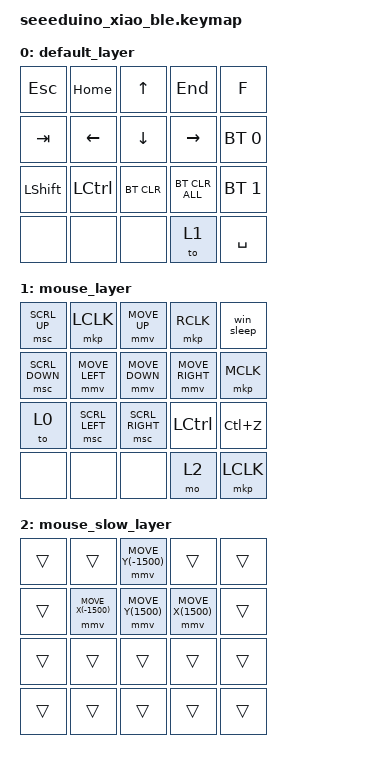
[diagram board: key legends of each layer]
#include <behaviors.dtsi>
#include <dt-bindings/zmk/keys.h>
#include <dt-bindings/zmk/bt.h>
#include <dt-bindings/zmk/matrix_transform.h>

/* Global mouse movement speed (Fast default: 4500) */
#define ZMK_POINTING_DEFAULT_MOVE_VAL 4500  
#define ZMK_POINTING_DEFAULT_SCRL_VAL 20
#include <dt-bindings/zmk/pointing.h>

/* Override default mmv behavior parameters */
&mmv {
    acceleration-exponent = <2>;
    time-to-max-speed-ms = <500>;
    delay-ms = <0>;
};

/ {
    macros {
        /* Win + X -> U -> S macro to safely put Windows to sleep */
        win_sleep: win_sleep {
            compatible = "zmk,behavior-macro";
            #binding-cells = <0>;
            wait-ms = <100>;
            tap-ms = <100>;
            bindings
                = <&kp LG(X)>
                , <&kp U>
                , <&kp S>;
        };

        /* Reset Zoom: Ctrl + 0 */
        zoom_reset: zoom_reset {
            compatible = "zmk,behavior-macro";
            #binding-cells = <0>;
            bindings = <&macro_press &kp LCTRL>
                     , <&macro_tap &kp N0>
                     , <&macro_release &kp LCTRL>;
        };
    };

    chosen {
        zmk,kscan = &kscan0;
        zmk,matrix_transform = &default_transform;
    };

    default_transform: keymap_transform_0 {
        compatible = "zmk,matrix-transform";
        columns = <5>;
        rows = <4>;
        map = <
            RC(0,0) RC(0,1) RC(0,2) RC(0,3) RC(0,4)
            RC(1,0) RC(1,1) RC(1,2) RC(1,3) RC(1,4)
            RC(2,0) RC(2,1) RC(2,2) RC(2,3) RC(2,4)
            RC(3,0) RC(3,1) RC(3,2) RC(3,3) RC(3,4)
        >;
    };

    kscan0: kscan {
        compatible = "zmk,kscan-gpio-matrix";
        diode-direction = "col2row";

        row-gpios =
            <&xiao_d 10 (GPIO_ACTIVE_HIGH | GPIO_PULL_DOWN)>,
            <&xiao_d 9  (GPIO_ACTIVE_HIGH | GPIO_PULL_DOWN)>,
            <&xiao_d 8  (GPIO_ACTIVE_HIGH | GPIO_PULL_DOWN)>,
            <&xiao_d 7  (GPIO_ACTIVE_HIGH | GPIO_PULL_DOWN)>;

        col-gpios =
            <&xiao_d 1 GPIO_ACTIVE_HIGH>,
            <&xiao_d 2 GPIO_ACTIVE_HIGH>,
            <&xiao_d 3 GPIO_ACTIVE_HIGH>,
            <&xiao_d 4 GPIO_ACTIVE_HIGH>,
            <&xiao_d 5 GPIO_ACTIVE_HIGH>;
    };

    keymap {
        compatible = "zmk,keymap";

        /* Layer 0: Nav / Media / Bluetooth */
        default_layer {
            bindings = <
                &kp ESC     &kp HOME   &kp UP          &kp END             &kp F
                &kp TAB     &kp LEFT   &kp DOWN        &kp RIGHT           &bt BT_SEL 0
                &kp LSHIFT  &kp LCTRL  &bt BT_CLR      &bt BT_CLR_ALL      &bt BT_SEL 1
                &none       &none      &none           &to 1               &kp SPACE
            >;
        };

        /* Layer 1: Normal Mouse Control (4500 Speed) */
        mouse_layer {
            bindings = <
                &msc SCRL_UP    &mkp LCLK       &mmv MOVE_UP     &mkp RCLK       &win_sleep
                &msc SCRL_DOWN  &mmv MOVE_LEFT  &mmv MOVE_DOWN   &mmv MOVE_RIGHT &mkp MCLK
                &to 0           &msc SCRL_LEFT  &msc SCRL_RIGHT  &kp LCTRL       &kp LC(Z)
                &none           &none           &none            &mo 2           &mkp LCLK
            >;
        };

        /* Layer 2: Precision Mouse Hold (1500 Speed) */
        mouse_slow_layer {
            bindings = <
                &trans          &trans               &mmv MOVE_Y(-1500)  &trans               &trans
                &trans          &mmv MOVE_X(-1500)   &mmv MOVE_Y(1500)   &mmv MOVE_X(1500)    &trans
                &trans          &trans               &trans              &trans               &trans
                &trans          &trans               &trans              &trans               &trans
            >;
        };
    };
};
